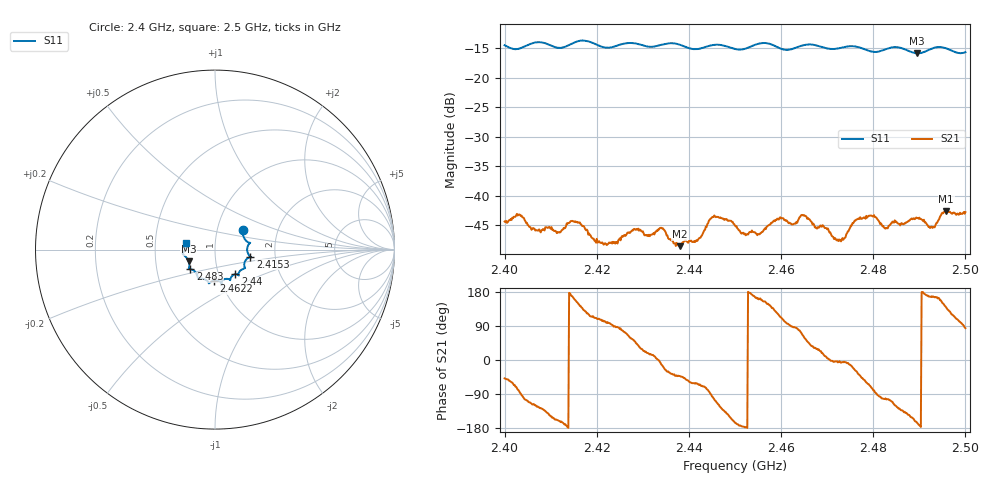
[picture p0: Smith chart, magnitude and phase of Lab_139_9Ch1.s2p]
# Hz S RI R 50
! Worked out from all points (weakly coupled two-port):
!   601 points, 2.4 GHz to 2.5 GHz, reference 50 ohm
!   highest |S21| = -42.64 dB at 2.4958 GHz (marker M1); lowest = -48.6 dB at 2.438 GHz (marker M2)
!   lowest |S11| = -15.9 dB at 2.4895 GHz (marker M3), VSWR 1.38, Z = 36.9 - j5 ohm
!   |S11| at or under -10 dB: start of sweep to end of sweep
!   S12 and S22 are empty: the file has one direction only
!   S11 on the Smith chart (normalised r, x): 2.4 GHz: 1.33, +0.29; 2.4153 GHz: 1.48, -0.12; 2.44 GHz: 1.20, -0.34; 2.4622 GHz: 0.93, -0.33; 2.483 GHz: 0.74, -0.17; 2.5 GHz: 0.72, +0.06
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2.4e9  0.1554 0.1067  0.004 -0.00452  0 0  0 0
2.403167e9  0.1669 0.0576  0.000898 -0.00687  0 0  0 0
2.411667e9  0.1791 0.00419  -0.00458 -0.00169  0 0  0 0
2.415333e9  0.1963 -0.0387  -0.00562 0.00226  0 0  0 0
2.416667e9  0.2021 -0.0429  -0.00427 0.00374  0 0  0 0
2.421833e9  0.1687 -0.0626  -0.000786 0.00387  0 0  0 0
2.433333e9  0.131 -0.1334  0.00517 1.44e-05  0 0  0 0
2.438e9  0.1289 -0.1403  0.00277 -0.0025  0 0  0 0
2.44e9  0.1141 -0.1368  0.00227 -0.00345  0 0  0 0
2.445167e9  0.0847 -0.1691  -0.000878 -0.00656  0 0  0 0
2.45e9  0.0647 -0.1629  -0.00541 -0.00137  0 0  0 0
2.455e9  0.0361 -0.1903  -0.0045 0.00138  0 0  0 0
2.462167e9  -0.00725 -0.1739  0.00012 0.0058  0 0  0 0
2.466667e9  -0.0344 -0.1877  0.00479 0.00354  0 0  0 0
2.4725e9  -0.0752 -0.1607  0.0041 -0.000366  0 0  0 0
2.479e9  -0.1035 -0.1338  0.00301 -0.00605  0 0  0 0
2.483e9  -0.1377 -0.1095  -0.00119 -0.00516  0 0  0 0
2.483333e9  -0.1401 -0.1093  -0.0013 -0.0054  0 0  0 0
2.4895e9  -0.1465 -0.0659  -0.00626 -0.00159  0 0  0 0
2.492833e9  -0.1749 -0.0285  -0.00518 0.00125  0 0  0 0
2.495833e9  -0.1767 -0.0157  -0.00553 0.00489  0 0  0 0
2.5e9  -0.1597 0.0392  0.000754 0.00722  0 0  0 0
